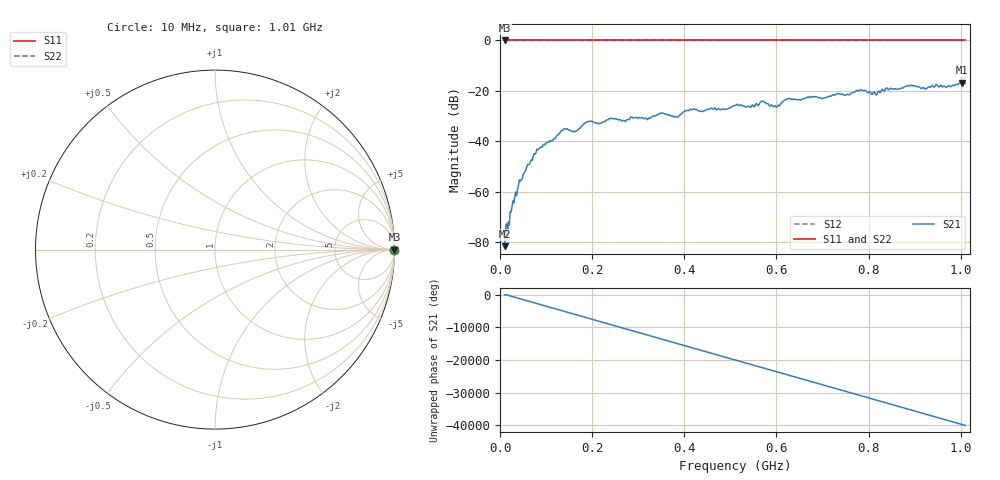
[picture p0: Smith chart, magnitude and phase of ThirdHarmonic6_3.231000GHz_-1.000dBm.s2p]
! 8/17/2025 9:53:36 AM
! C:\ANRITSUVNA\TEMP\TEMP.S2P
! CHANNEL.1
! TR.MEASUREMENT
! RAW.DATA
! RF.CORRECTION.OFF
! AVERAGING.OFF
! IF.BANDWIDTH: 5KHZ
! SWEEPTYPE:  FREQ.SWEEP(Linear)
! Reference Plane Port Info
! PORT:  PORT1  PORT2
! DISTANCE:  0  m  0  m
! TIME:  0  s  0  s
! PHASE.OFFSET:  0  deg.  0  deg.
! LOSS:  0  dB  0  dB
! REF.LOSS:  0  dB  0  dB
! REF.FREQ:  0  Hz  0  Hz
! Power Info
! POWER:  -20  dBm  -20  dBm
! EFF.POWER:  -20  dBm  -20  dBm
! SOURCE.ATTEN:  0  dB  0  dB
! TEST.ATTEN:  0  dB  0  dB
# GHZ S RI R 50.0
! FREQ.GHZ  S11RE  S11IM  S21RE  S21IM  S12RE  S12IM  S22RE  S22IM
!; PortSelection: Port_12
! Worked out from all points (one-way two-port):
!   501 points, 10 MHz to 1.01 GHz, reference 50 ohm
!   highest |S21| = -16.80 dB at 1.002 GHz (marker M1); lowest = -81.7 dB at 10 MHz (marker M2)
!   lowest |S11| = 0.0 dB at 10 MHz (marker M3)
!   |S11| at or under -10 dB: nowhere
!   |S22| runs from 0.0 to 0.0 dB; largest |S21 - S12| = 1.1
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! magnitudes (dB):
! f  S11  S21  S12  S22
! 10 MHz  0.0  -81.7  0.0  0.0
! 42 MHz  0.0  -55.3  0.0  0.0
! 76 MHz  0.0  -45.1  0.0  0.0
! 136 MHz  0.0  -35.7  0.0  0.0
! 162 MHz  0.0  -36.3  0.0  0.0
! 178 MHz  0.0  -33.9  0.0  0.0
! 192 MHz  0.0  -32.1  0.0  0.0
! 322 MHz  0.0  -31.0  0.0  0.0
! 344 MHz  0.0  -29.4  0.0  0.0
! 384 MHz  0.0  -30.3  0.0  0.0
! 416 MHz  0.0  -27.6  0.0  0.0
! 510 MHz  0.0  -25.8  0.0  0.0
! 540 MHz  0.0  -26.1  0.0  0.0
! 570 MHz  0.0  -24.2  0.0  0.0
! 596 MHz  0.0  -25.9  0.0  0.0
! 624 MHz  0.0  -23.2  0.0  0.0
! 678 MHz  0.0  -22.3  0.0  0.0
! 784 MHz  0.0  -19.6  0.0  0.0
! 814 MHz  0.0  -21.1  0.0  0.0
! 844 MHz  0.0  -19.6  0.0  0.0
! 1.002 GHz  0.0  -16.8  0.0  0.0
! 1.01 GHz  0.0  -17.1  0.0  0.0
